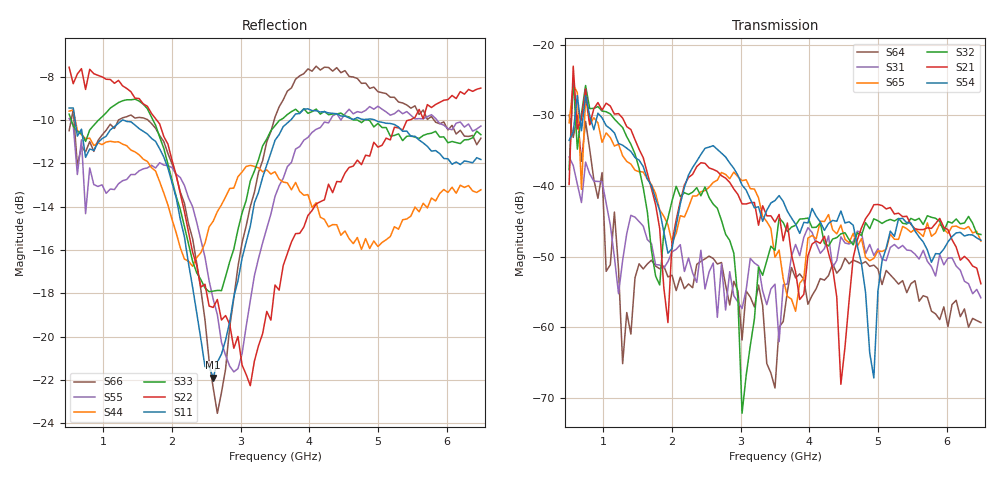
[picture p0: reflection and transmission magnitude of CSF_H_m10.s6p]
!Keysight Technologies,M9804A,MY58100912,A.14.10.03
!Date: Thursday, April 27, 2023 10:28:33
!Correction: S11(C  6-Port  )
!S12(C  6-Port  )
!S13(C  6-Port  )
!S14(C  6-Port  )
!S15(C  6-Port  )
!S16(C  6-Port  )
!S21(C  6-Port  )
!S22(C  6-Port  )
!S23(C  6-Port  )
!S24(C  6-Port  )
!S25(C  6-Port  )
!S26(C  6-Port  )
!S31(C  6-Port  )
!S32(C  6-Port  )
!S33(C  6-Port  )
!S34(C  6-Port  )
!S35(C  6-Port  )
!S36(C  6-Port  )
!S41(C  6-Port  )
!S42(C  6-Port  )
!S43(C  6-Port  )
!S44(C  6-Port  )
!S45(C  6-Port  )
!S46(C  6-Port  )
!S51(C  6-Port  )
!S52(C  6-Port  )
!S53(C  6-Port  )
!S54(C  6-Port  )
!S55(C  6-Port  )
!S56(C  6-Port  )
!S61(C  6-Port  )
!S62(C  6-Port  )
!S63(C  6-Port  )
!S64(C  6-Port  )
!S65(C  6-Port  )
!S66(C  6-Port  )
!S6P File: Measurement: :
# Hz S  RI  R 50
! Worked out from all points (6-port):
!   101 points, 500 MHz to 6.5 GHz, reference 50 ohm
!   strongest paths, dB at 500 MHz, 2 GHz, 3.5 GHz, 5 GHz, 6.5 GHz:
!     S54: -33.5, -48.8, -42.1, -54.9, -47.7
!     S21: -39.8, -47.9, -45.1, -42.6, -53.8
!     S32: -37.7, -42.1, -49.1, -44.9, -46.9
!     S65: -31.1, -48.0, -50.1, -49.2, -47.8
!     S31: -35.9, -49.3, -53.9, -48.9, -55.8
!     S64: -30.0, -52.6, -68.6, -51.8, -59.3
!   lowest |S11| = -21.9 dB at 2.6 GHz (marker M1), VSWR 1.17, Z = 42.8 + j1.87 ohm
!   |S11| at or under -10 dB: 585.8 MHz to 1.276 GHz (689.9 MHz wide, 74.1 % of centre); 1.289 GHz to 3.727 GHz (2.439 GHz wide, 97.2 % of centre); 4.956 GHz to end of sweep
